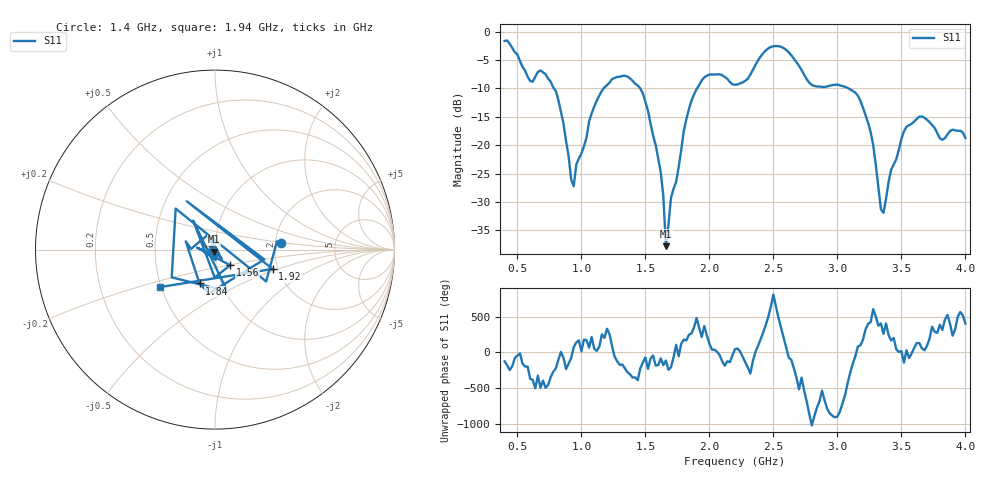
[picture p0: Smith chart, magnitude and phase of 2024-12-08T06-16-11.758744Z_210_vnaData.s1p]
!Created with skrf (http://scikit-rf.org).
# Hz S RI R 50.0
!freq ReS11 ImS11
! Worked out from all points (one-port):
!   181 points, 400 MHz to 4 GHz, reference 50 ohm
!   lowest |S11| = -37.8 dB at 1.66 GHz (marker M1), VSWR 1.03, Z = 49.4 - j1.14 ohm
!   |S11| at or under -10 dB: 785.3 MHz to 1.174 GHz (388.4 MHz wide, 39.6 % of centre); 1.46 GHz to 1.903 GHz (443.1 MHz wide, 26.3 % of centre); 3.088 GHz to end of sweep
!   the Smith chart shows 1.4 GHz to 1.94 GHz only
!   S11 on the Smith chart (normalised r, x): 1.4 GHz: 2.15, +0.19; 1.56 GHz: 1.17, -0.21; 1.84 GHz: 0.79, -0.31; 1.92 GHz: 1.87, -0.46; 1.94 GHz: 0.49, -0.24
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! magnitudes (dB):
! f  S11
! 400 MHz  -1.6
! 600 MHz  -8.7
! 720 MHz  -7.5
! 860 MHz  -16.2
! 940 MHz  -27.2
! 1.12 GHz  -12.1
! 1.3 GHz  -7.9
! 1.4 GHz  -8.6
! 1.48 GHz  -10.9
! 1.56 GHz  -18.3
! 1.62 GHz  -24.8
! 1.64 GHz  -29.0
! 1.66 GHz  -37.8
! 1.7 GHz  -29.3
! 1.76 GHz  -23.8
! 1.84 GHz  -13.7
! 1.92 GHz  -9.4
! 1.94 GHz  -8.6
! 2.2 GHz  -9.3
! 2.48 GHz  -2.7
! 2.66 GHz  -4.7
! 2.8 GHz  -9.4
! 3.1 GHz  -10.2
! 3.26 GHz  -17.7
! 3.36 GHz  -31.9
! 3.42 GHz  -24.3
! 3.56 GHz  -16.5
! 4 GHz  -18.7
